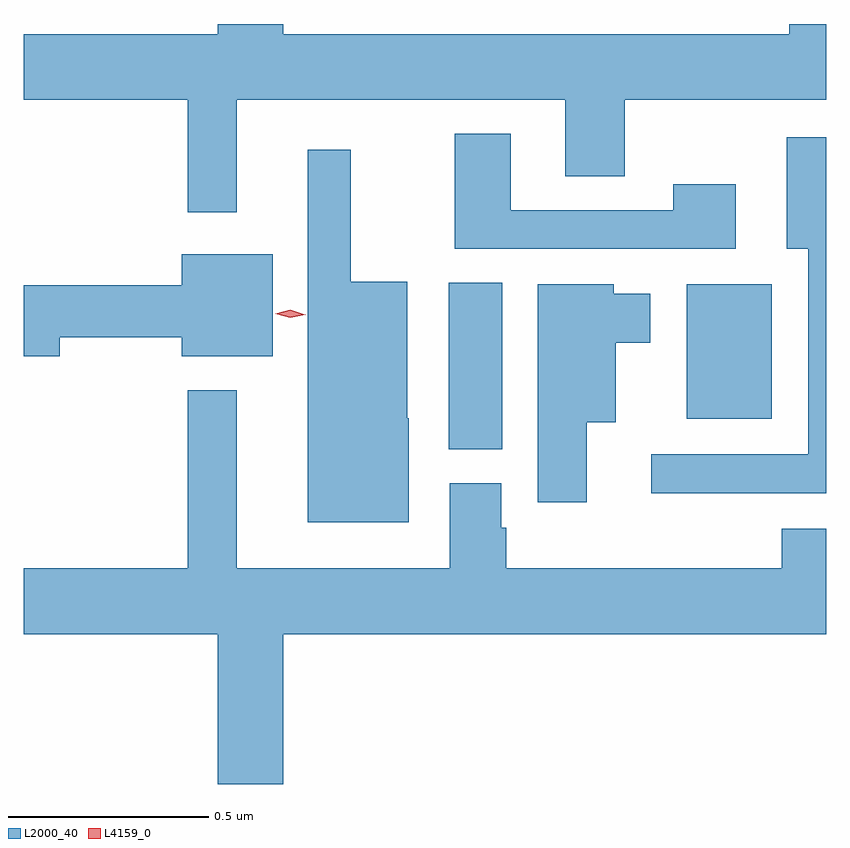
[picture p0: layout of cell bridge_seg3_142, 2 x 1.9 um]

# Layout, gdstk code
import gdstk
lib = gdstk.Library(unit=1e-6, precision=1e-09)
def R(c, l, rs):  # rectangles x0, y0, x1, y1
    for r in rs: c.add(gdstk.rectangle(r[:2], r[2:], *l))
def P(c, l, *ps):  # polygons
    for p in ps: c.add(gdstk.Polygon(p, *l))
L2000_40 = (2000, 40)
L4159_0 = (4159, 0)

bridge_seg3_142 = lib.new_cell('bridge_seg3_142')
R(bridge_seg3_142, L2000_40, [(321.428,674.737,321.562,675.152), (322.022,674.813,322.234,675.148)])
P(bridge_seg3_142, L2000_40, [(320.899,675.608),(321.719,675.608),(321.719,675.418),(321.867,675.418),(321.867,675.608),(322.369,675.608),(322.369,675.797),(322.277,675.797),(322.277,675.772),(321.016,675.772),(321.016,675.797),(320.852,675.797),(320.852,675.772),(320.369,675.772),(320.369,675.608),(320.778,675.608),(320.778,675.327),(320.899,675.327)],
  [(322.144,675.397),(321.988,675.397),(321.988,675.333),(321.583,675.333),(321.583,675.523),(321.443,675.523),(321.443,675.237),(322.144,675.237)],
  [(322.369,675.514),(322.271,675.514),(322.271,675.236),(322.325,675.236),(322.325,674.724),(321.933,674.724),(321.933,674.627),(322.369,674.627)],
  [(321.328,674.814),(321.325,674.814),(321.325,675.154),(321.184,675.154),(321.184,675.484),(321.077,675.484),(321.077,674.555),(321.328,674.555)],
  [(320.458,675.016),(320.762,675.016),(320.762,674.969),(320.989,674.969),(320.989,675.223),(320.762,675.223),(320.762,675.145),(320.369,675.145),(320.369,674.969),(320.458,674.969)],
  [(321.772,674.804),(321.844,674.804),(321.844,675.002),(321.931,675.002),(321.931,675.124),(321.84,675.124),(321.84,675.148),(321.65,675.148),(321.65,674.604),(321.772,674.604)],
  [(321.016,674.276),(322.369,674.276),(322.369,674.539),(322.259,674.539),(322.259,674.44),(321.572,674.44),(321.572,674.541),(321.559,674.541),(321.559,674.652),(321.431,674.652),(321.431,674.44),(320.899,674.44),(320.899,674.884),(320.778,674.884),(320.778,674.44),(320.369,674.44),(320.369,674.276),(320.852,674.276),(320.852,673.902),(321.016,673.902)])
P(bridge_seg3_142, L4159_0, [(321.033,675.064),(320.995,675.075),(320.995,675.075),(320.995,675.075),(321.033,675.084),(321.071,675.072),(321.072,675.072),(321.071,675.072)])

lib.write_gds('bridge_seg3_142.gds')
